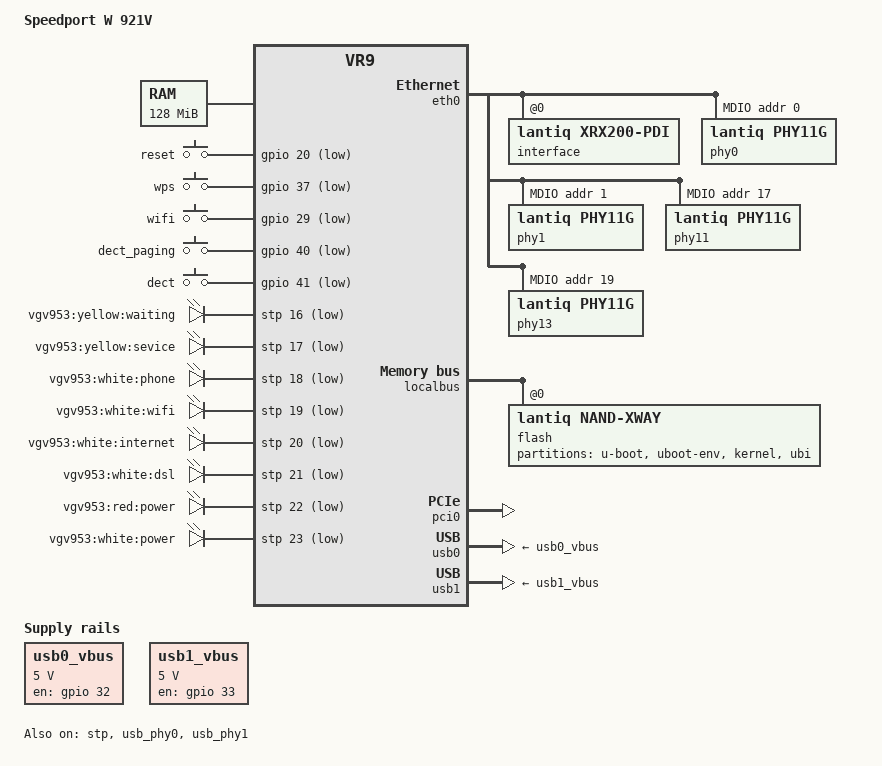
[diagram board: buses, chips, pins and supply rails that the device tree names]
// SPDX-License-Identifier: GPL-2.0-or-later OR MIT
/dts-v1/;

#include "vr9.dtsi"

#include <dt-bindings/input/input.h>
#include <dt-bindings/mips/lantiq_rcu_gphy.h>

/ {
	compatible = "arcadyan,vgv953akw22", "lantiq,xway", "lantiq,vr9";
	model = "Speedport W 921V";

	chosen {
		bootargs = "console=ttyLTQ0,115200";
	};

	aliases {
		led-boot = &led_power_white;
		led-failsafe = &led_power_red;
		led-running = &led_power_white;
		led-upgrade = &led_waiting;

		led-dsl = &led_dsl;
		led-internet = &led_internet;
		led-wifi = &led_wifi;
	};

	memory@0 {
		device_type = "memory";
		reg = <0x0 0x8000000>;
	};

	keys {
		compatible = "gpio-keys-polled";
		poll-interval = <100>;

		reset {
			label = "reset";
			gpios = <&gpio 20 GPIO_ACTIVE_LOW>;
			linux,code = <KEY_RESTART>;
		};

		wps {
			label = "wps";
			gpios = <&gpio 37 GPIO_ACTIVE_LOW>;
			linux,code = <KEY_WPS_BUTTON>;
		};

		wifi {
			label = "wifi";
			gpios = <&gpio 29 GPIO_ACTIVE_LOW>;
			linux,code = <KEY_RFKILL>;
		};

		dect_paging {
			label = "dect_paging";
			gpios = <&gpio 40 GPIO_ACTIVE_LOW>;
			linux,code = <KEY_PHONE>;
		};

		dect_pairing {
			label = "dect";
			gpios = <&gpio 41 GPIO_ACTIVE_LOW>;
			linux,code = <KEY_CONFIG>;
		};

	};

	leds {
		compatible = "gpio-leds";

		led_waiting: waiting {
			label = "vgv953:yellow:waiting";
			gpios = <&stp 16 GPIO_ACTIVE_LOW>;
		};
		led_service: service {
			label = "vgv953:yellow:sevice";
			gpios = <&stp 17 GPIO_ACTIVE_LOW>;
		};
		led_phone: phone {
			label = "vgv953:white:phone";
			gpios = <&stp 18 GPIO_ACTIVE_LOW>;
		};
		led_wifi: wifi {
			label = "vgv953:white:wifi";
			gpios = <&stp 19 GPIO_ACTIVE_LOW>;
		};
		led_internet: internet {
			label = "vgv953:white:internet";
			gpios = <&stp 20 GPIO_ACTIVE_LOW>;
		};
		led_dsl: dsl {
			label = "vgv953:white:dsl";
			gpios = <&stp 21 GPIO_ACTIVE_LOW>;
		};
		led_power_red: power_red {
			label = "vgv953:red:power";
			gpios = <&stp 22 GPIO_ACTIVE_LOW>;
		};
		led_power_white: power_white {
			label = "vgv953:white:power";
			gpios = <&stp 23 GPIO_ACTIVE_LOW>;
			default-state = "keep";
		};
	};

	usb0_vbus: regulator-usb0-vbus {
		compatible = "regulator-fixed";

		regulator-name = "USB0_VBUS";

		regulator-min-microvolt = <5000000>;
		regulator-max-microvolt = <5000000>;

		gpio = <&gpio 32 GPIO_ACTIVE_HIGH>;
		enable-active-high;
	};
	usb1_vbus: regulator-usb1-vbus {
		compatible = "regulator-fixed";

		regulator-name = "USB1_VBUS";

		regulator-min-microvolt = <5000000>;
		regulator-max-microvolt = <5000000>;

		gpio = <&gpio 33 GPIO_ACTIVE_HIGH>;
		enable-active-high;
	};
};

&eth0 {
	interface@0 {
		compatible = "lantiq,xrx200-pdi";
		#address-cells = <1>;
		#size-cells = <0>;
		reg = <0>;
		lantiq,switch;

		ethernet@0 {
			compatible = "lantiq,xrx200-pdi-port";
			reg = <0>;
			phy-mode = "rgmii";
			phy-handle = <&phy0>;
		};

		ethernet@1 {
			compatible = "lantiq,xrx200-pdi-port";
			reg = <1>;
			phy-mode = "rgmii";
			phy-handle = <&phy1>;
		};

		ethernet@2 {
			compatible = "lantiq,xrx200-pdi-port";
			reg = <2>;
			phy-mode = "gmii";
			phy-handle = <&phy11>;
		};

		ethernet@4 {
			compatible = "lantiq,xrx200-pdi-port";
			reg = <4>;
			phy-mode = "gmii";
			phy-handle = <&phy13>;
		};
	};

	mdio {
		#address-cells = <1>;
		#size-cells = <0>;
		compatible = "lantiq,xrx200-mdio";

		phy0: ethernet-phy@0 {
			reg = <0x0>;
			compatible = "lantiq,phy11g", "ethernet-phy-ieee802.3-c22";
		};

		phy1: ethernet-phy@1 {
			reg = <0x1>;
			compatible = "lantiq,phy11g", "ethernet-phy-ieee802.3-c22";
		};

		phy11: ethernet-phy@11 {
			reg = <0x11>;
			compatible = "lantiq,phy11g", "ethernet-phy-ieee802.3-c22";
		};

		phy13: ethernet-phy@13 {
			reg = <0x13>;
			compatible = "lantiq,phy11g", "ethernet-phy-ieee802.3-c22";
		};
	};
};

&gphy0 {
	lantiq,gphy-mode = <GPHY_MODE_GE>;
};

&gphy1 {
	lantiq,gphy-mode = <GPHY_MODE_GE>;
};

&gpio {
	pinctrl-names = "default";
	pinctrl-0 = <&state_default>;

	state_default: pinmux {
		pci_rst {
			lantiq,pins = "io21";
			lantiq,output = <1>;
			lantiq,open-drain = <0>;
			lantiq,pull = <2>;
		};
		pcie-rst {
			lantiq,pins = "io38";
			lantiq,pull = <0>;
			lantiq,output = <1>;
		};
		ifxhcd-rst {
			lantiq,pins = "io33";
			lantiq,pull = <0>;
			lantiq,open-drain = <0>;
			lantiq,output = <1>;
		};
	};
};

&localbus {
	flash@0 {
		compatible = "lantiq,nand-xway";
		lantiq,cs = <1>;
		bank-width = <2>;
		reg = <0x0 0x0 0x2000000>;

		partitions {
			compatible = "fixed-partitions";
			#address-cells = <1>;
			#size-cells = <1>;

			partition@0 {
				label = "u-boot";
				reg = <0x00000 0x40000>;
			};
			partition@40000 {
				label = "uboot-env";
				reg = <0x40000 0x20000>;
			};
			partition@60000 {
				label = "kernel";
				reg = <0x60000 0x200000>;
			};
			partition@260000 {
				label = "ubi";
				reg = <0x260000 0x1da0000>;
			};
		};
	};
};

&pci0 {
	status = "okay";

	pinctrl-0 = <&pci_gnt1_pins>, <&pci_req1_pins>;
	pinctrl-names = "default";

	gpio-reset = <&gpio 21 GPIO_ACTIVE_HIGH>;

/*	wifi@1a30,0700*/
};

&pcie0 {
	status = "disabled";
	gpio-reset = <&gpio 38 GPIO_ACTIVE_HIGH>;
};
&stp {
	status = "okay";

	lantiq,shadow = <0xffffff>;
	lantiq,groups = <0x7>;
	lantiq,dsl = <0x0>;
	lantiq,phy1 = <0x0>;
	lantiq,phy2 = <0x0>;
};

&usb_phy0 {
	status = "okay";
};

&usb_phy1 {
	status = "okay";
};

&usb0 {
	status = "okay";
	vbus-supply = <&usb0_vbus>;
};

&usb1 {
	status = "okay";
	vbus-supply = <&usb1_vbus>;
};
